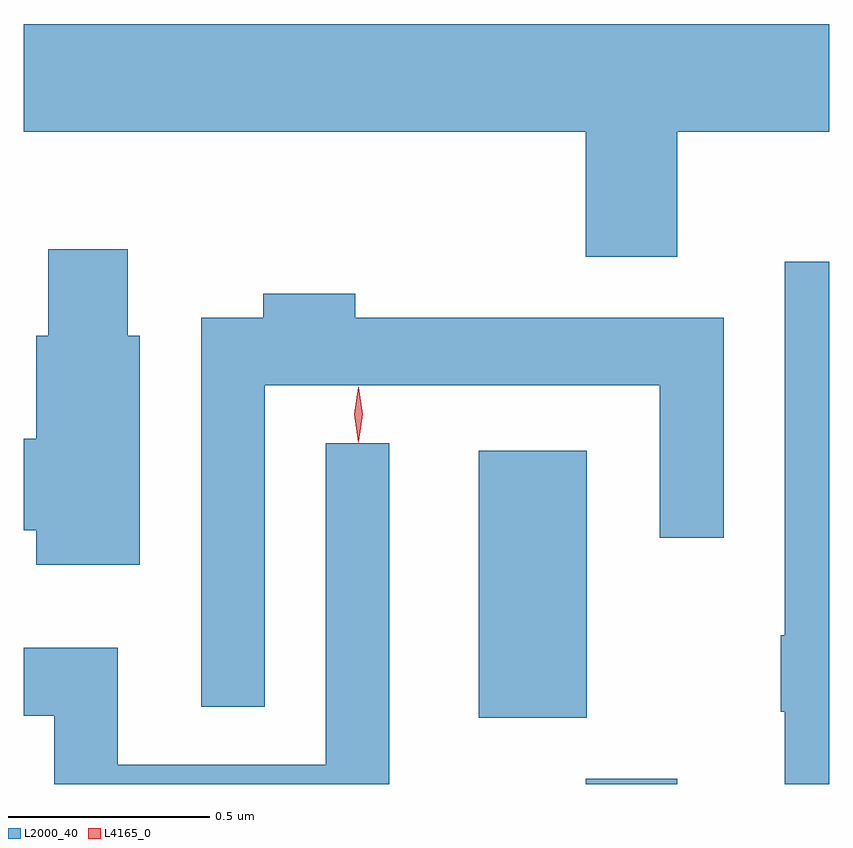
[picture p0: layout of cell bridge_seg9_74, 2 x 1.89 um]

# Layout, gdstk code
import gdstk
lib = gdstk.Library(unit=1e-6, precision=1e-09)
def R(c, l, rs):  # rectangles x0, y0, x1, y1
    for r in rs: c.add(gdstk.rectangle(r[:2], r[2:], *l))
def P(c, l, *ps):  # polygons
    for p in ps: c.add(gdstk.Polygon(p, *l))
L2000_40 = (2000, 40)
L4165_0 = (4165, 0)

bridge_seg9_74 = lib.new_cell('bridge_seg9_74')
R(bridge_seg9_74, L2000_40, [(1497.571,1945.796,1497.799,1945.809), (1497.306,1945.961,1497.574,1946.624)])
P(bridge_seg9_74, L2000_40, [(1497.799,1947.416),(1498.176,1947.416),(1498.176,1947.684),(1496.176,1947.684),(1496.176,1947.416),(1497.571,1947.416),(1497.571,1947.106),(1497.799,1947.106)],
  [(1496.464,1946.909),(1496.434,1946.909),(1496.434,1947.124),(1496.236,1947.124),(1496.236,1946.909),(1496.206,1946.909),(1496.206,1946.654),(1496.176,1946.654),(1496.176,1946.426),(1496.206,1946.426),(1496.206,1946.341),(1496.464,1946.341)],
  [(1498.176,1947.093),(1498.066,1947.093),(1498.066,1946.165),(1498.056,1946.165),(1498.056,1945.975),(1498.066,1945.975),(1498.066,1945.796),(1498.176,1945.796)],
  [(1496.774,1946.786),(1497.756,1946.786),(1497.756,1946.408),(1497.914,1946.408),(1497.914,1946.954),(1496.999,1946.954),(1496.999,1947.014),(1496.771,1947.014),(1496.771,1946.954),(1496.616,1946.954),(1496.616,1945.988),(1496.774,1945.988)],
  [(1497.084,1946.643),(1496.926,1946.643),(1496.926,1945.844),(1496.409,1945.844),(1496.409,1946.134),(1496.176,1946.134),(1496.176,1945.966),(1496.251,1945.966),(1496.251,1945.796),(1497.084,1945.796)])
P(bridge_seg9_74, L4165_0, [(1497.006,1946.644),(1497.006,1946.645),(1496.996,1946.714),(1497.006,1946.782),(1497.006,1946.783),(1497.007,1946.782),(1497.016,1946.714),(1497.007,1946.645)],
  [(1497.007,1946.648),(1496.998,1946.714),(1497.007,1946.78),(1497.008,1946.781),(1497.008,1946.78),(1497.018,1946.714),(1497.008,1946.648),(1497.008,1946.648)])

lib.write_gds('bridge_seg9_74.gds')
